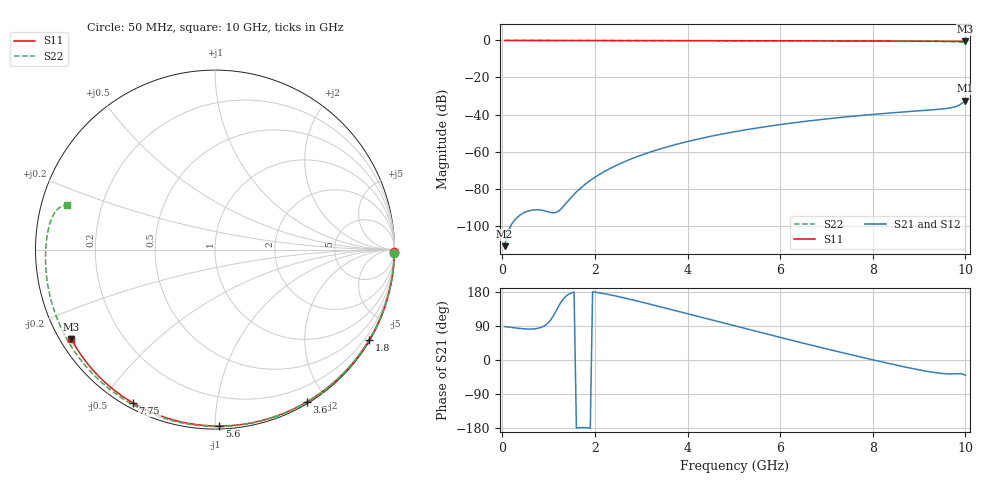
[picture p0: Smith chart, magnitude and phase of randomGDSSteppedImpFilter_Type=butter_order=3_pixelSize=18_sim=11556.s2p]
! freq	dB(S11)	phase(S11)	dB(S12)	phase(S12)
!  dB(S21)	phase(S21)	dB(S22)	phase(S22)
!S-par simulation data
#  GHz  S  DB  R 50
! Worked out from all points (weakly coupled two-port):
!   200 points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, 50 MHz to 10 GHz, reference 50 ohm
!   highest |S21| = -32.49 dB at 10 GHz (marker M1); lowest = -111.1 dB at 50 MHz (marker M2)
!   lowest |S11| = -0.5 dB at 10 GHz (marker M3), VSWR 34.41, Z = 1.57 - j14.4 ohm
!   |S11| at or under -10 dB: nowhere
!   |S22| runs from -1.3 to 0.0 dB; largest |S21 - S12| = 0
!   S11 on the Smith chart (normalised r, x): 50 MHz: open; 1.8 GHz: 0.03, -3.70; 3.6 GHz: 0.02, -1.77; 5.6 GHz: 0.02, -1.02; 7.75 GHz: 0.02, -0.60; 10 GHz: 0.03, -0.29
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0.05  -0.00 -0.9  -111.07 88.1  -111.07 88.1  -0.00 -1.1
0.45  -0.01 -7.7  -93.25 82.4  -93.25 82.4  -0.01 -10.3
0.85  -0.02 -14.4  -91.66 86.6  -91.66 86.6  -0.02 -19.4
1.65  -0.04 -27.8  -80.62 -178.7  -80.62 -178.7  -0.05 -37.3
1.7  -0.04 -28.6  -79.50 -178.3  -79.50 -178.3  -0.05 -38.4
1.75  -0.04 -29.4  -78.44 -178.3  -78.44 -178.3  -0.05 -39.5
1.8  -0.04 -30.2  -77.43 -178.5  -77.43 -178.5  -0.05 -40.6
2.1  -0.04 -35.2  -72.28 177.2  -72.28 177.2  -0.06 -47.1
2.5  -0.05 -41.6  -67.01 167.5  -67.01 167.5  -0.07 -55.6
2.9  -0.06 -48.0  -62.84 156.0  -62.84 156.0  -0.08 -64.0
3.4  -0.07 -55.9  -58.63 140.8  -58.63 140.8  -0.10 -74.1
3.6  -0.08 -59.0  -57.18 134.6  -57.18 134.6  -0.10 -78.1
4.3  -0.10 -69.7  -52.84 112.6  -52.84 112.6  -0.13 -91.8
5.05  -0.12 -80.7  -49.14 89.0  -49.14 89.0  -0.16 -105.8
5.6  -0.15 -88.7  -46.88 71.8  -46.88 71.8  -0.19 -115.8
6.7  -0.20 -104.0  -43.21 38.3  -43.21 38.3  -0.26 -135.2
7.75  -0.27 -118.2  -40.50 7.6  -40.50 7.6  -0.34 -153.4
8.35  -0.33 -126.1  -39.21 -9.2  -39.21 -9.2  -0.40 -163.8
9.05  -0.39 -135.4  -37.90 -27.2  -37.90 -27.2  -0.48 -176.4
9.65  -0.46 -143.3  -36.52 -36.6  -36.52 -36.6  -0.60 171.6
9.85  -0.49 -146.0  -35.09 -35.9  -35.09 -35.9  -0.78 166.6
10  -0.50 -147.9  -32.49 -40.4  -32.49 -40.4  -1.31 163.3
